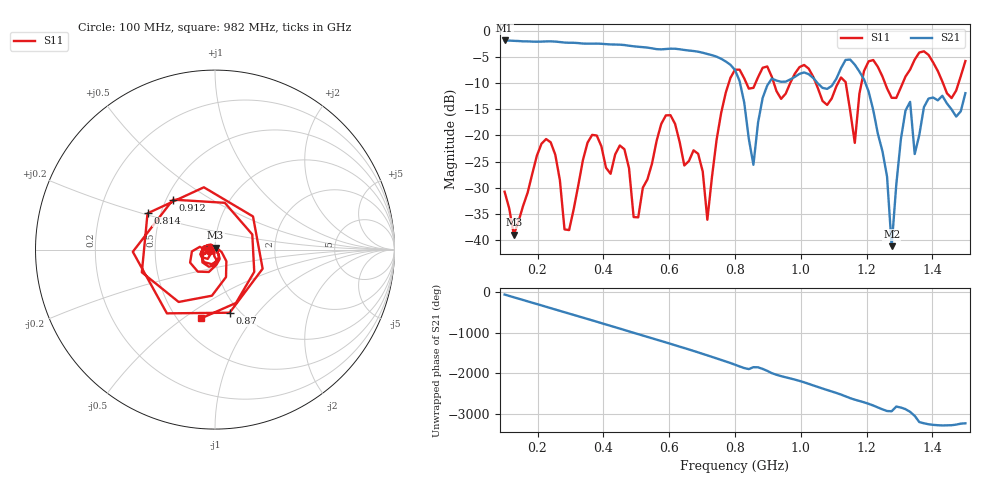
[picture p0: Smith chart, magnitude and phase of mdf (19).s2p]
! NanoVNA-App
! Date: 2025-09-25 15:38:34
! Start: 100MHz Stop: 1,5GHz Points: 101
! S-Parameter data: F S11 S21 S12 S22
# Hz S RI R 50
!  Frequency  S11_Real  S11_Imag  S21_Real  S21_Imag  S12_Real  S12_Imag  S22_Real  S22_Imag
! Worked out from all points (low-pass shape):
!   101 points, 100 MHz to 1.5 GHz, reference 50 ohm
!   highest |S21| = -1.80 dB at 100 MHz (marker M1); lowest = -41.2 dB at 1.276 GHz (marker M2)
!   |S21| within 3 dB of the highest: start of sweep to 739 MHz
!   lowest |S11| = -39.0 dB at 128 MHz (marker M3), VSWR 1.02, Z = 50.3 + j1.08 ohm
!   |S11| at or under -10 dB: start of sweep to 781 MHz; 1.046 GHz to 1.113 GHz (67.1 MHz wide, 6.22 % of centre); 1.256 GHz to 1.309 GHz (53.36 MHz wide, 4.16 % of centre) (the widest 3 of 7)
!   S12 and S22 are empty: the file has one direction only
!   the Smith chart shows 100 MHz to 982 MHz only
!   S11 on the Smith chart (normalised r, x): 100 MHz: 0.94, -0.01; 814 MHz: 0.42, +0.21; 870 MHz: 0.90, -0.73; 912 MHz: 0.54, +0.35; 982 MHz: 0.65, -0.59
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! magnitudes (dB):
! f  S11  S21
! 100 MHz  -30.8  -1.8
! 128 MHz  -39.0  -1.9
! 212 MHz  -21.6  -2.0
! 282 MHz  -38.0  -2.2
! 338 MHz  -24.7  -2.4
! 464 MHz  -22.6  -2.7
! 506 MHz  -35.7  -3.0
! 576 MHz  -17.8  -3.5
! 688 MHz  -23.5  -4.0
! 716 MHz  -36.1  -4.4
! 800 MHz  -7.4  -7.5
! 814 MHz  -7.4  -9.6
! 856 MHz  -10.9  -25.6
! 870 MHz  -8.9  -17.6
! 912 MHz  -8.8  -9.1
! 982 MHz  -8.1  -8.8
! 1.038 GHz  -8.8  -9.0
! 1.164 GHz  -21.4  -6.4
! 1.192 GHz  -7.6  -9.3
! 1.276 GHz  -12.8  -41.2
! 1.318 GHz  -8.7  -15.2
! 1.5 GHz  -5.8  -11.9
